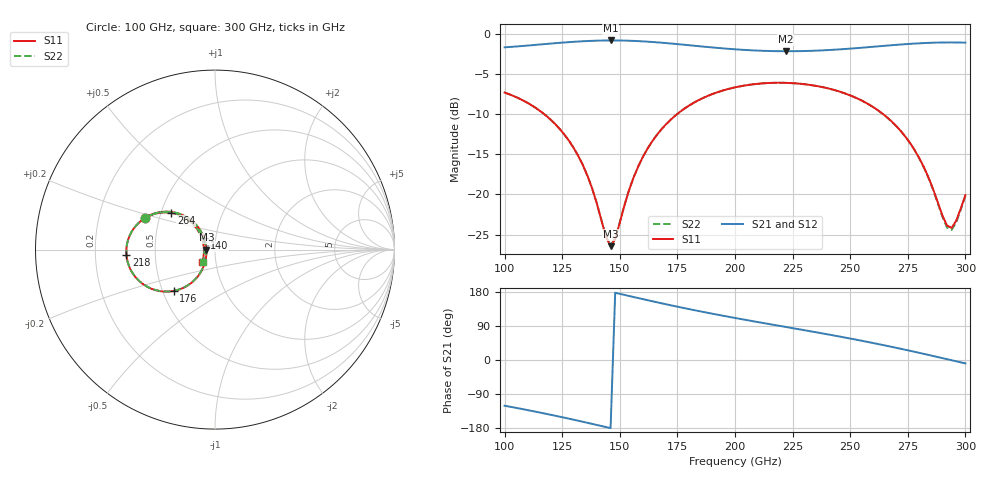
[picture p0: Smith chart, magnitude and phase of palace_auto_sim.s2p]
#  GHZ S DB R 50
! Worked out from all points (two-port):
!   101 points, 100 GHz to 300 GHz, reference 50 ohm
!   highest |S21| = -0.86 dB at 146 GHz (marker M1); lowest = -2.2 dB at 222 GHz (marker M2)
!   |S21| within 3 dB of the highest: start of sweep to end of sweep
!   lowest |S11| = -26.4 dB at 146 GHz (marker M3), VSWR 1.10, Z = 45.4 - j0.0405 ohm
!   |S11| at or under -10 dB: 117.1 GHz to 174.9 GHz (57.84 GHz wide, 39.6 % of centre); 264.2 GHz to end of sweep
!   |S22| runs from -26.3 to -6.1 dB; largest |S21 - S12| = 1e-13
!   S11 on the Smith chart (normalised r, x): 100 GHz: 0.41, +0.18; 140 GHz: 0.88, +0.11; 176 GHz: 0.57, -0.29; 218 GHz: 0.34, -0.03; 264 GHz: 0.57, +0.26; 300 GHz: 0.86, -0.12
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100  -7.33 155.9  -1.72 -120.6  -1.72 -120.6  -7.33 156.0
120  -10.71 135.9  -1.25 -144.6  -1.25 -144.6  -10.70 136.0
134  -16.37 126.9  -0.96 -163.1  -0.96 -163.1  -16.36 127.1
140  -21.09 133.4  -0.89 -171.4  -0.89 -171.4  -21.06 133.7
144  -25.30 156.7  -0.87 -177.0  -0.87 -177.0  -25.21 157.0
146  -26.42 -179.5  -0.86 -179.8  -0.86 -179.8  -26.30 -179.5
148  -25.54 -154.8  -0.86 177.4  -0.86 177.4  -25.45 -155.1
154  -19.48 -124.9  -0.90 169.0  -0.90 169.0  -19.45 -125.3
158  -16.51 -122.2  -0.94 163.4  -0.94 163.4  -16.50 -122.5
168  -11.92 -127.4  -1.14 149.8  -1.14 149.8  -11.92 -127.6
176  -9.76 -134.9  -1.34 139.4  -1.34 139.4  -9.75 -135.1
200  -6.69 -159.1  -1.96 111.0  -1.96 111.0  -6.69 -159.2
218  -6.12 -176.5  -2.19 91.5  -2.19 91.5  -6.12 -176.6
222  -6.13 179.7  -2.20 87.3  -2.20 87.3  -6.13 179.6
234  -6.45 168.4  -2.14 74.4  -2.14 74.4  -6.45 168.2
250  -7.68 153.1  -1.88 56.6  -1.88 56.6  -7.69 152.8
264  -9.95 139.9  -1.55 39.8  -1.55 39.8  -9.96 139.6
268  -10.93 136.5  -1.45 34.7  -1.45 34.7  -10.94 136.2
280  -15.48 130.6  -1.21 18.8  -1.21 18.8  -15.52 130.0
292  -23.85 167.6  -1.11 2.2  -1.11 2.2  -24.10 167.1
296  -23.26 -155.8  -1.11 -3.4  -1.11 -3.4  -23.47 -155.0
300  -20.08 -135.6  -1.13 -9.0  -1.13 -9.0  -20.18 -134.7
